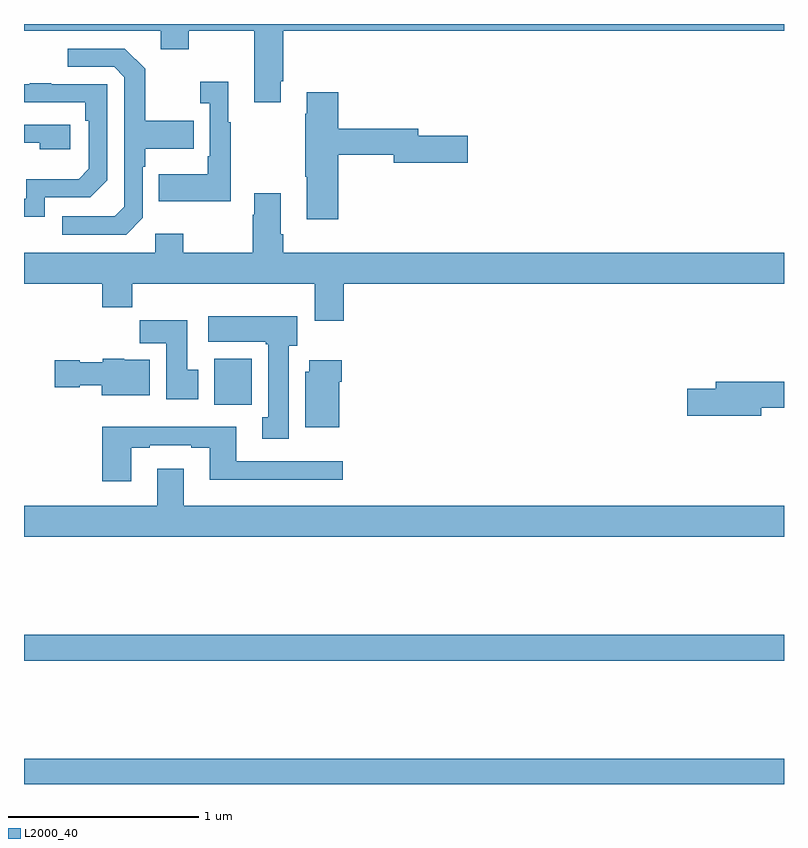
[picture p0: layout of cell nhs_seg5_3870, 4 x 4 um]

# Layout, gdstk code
import gdstk
lib = gdstk.Library(unit=1e-6, precision=1e-09)
def R(c, l, rs):  # rectangles x0, y0, x1, y1
    for r in rs: c.add(gdstk.rectangle(r[:2], r[2:], *l))
def P(c, l, *ps):  # polygons
    for p in ps: c.add(gdstk.Polygon(p, *l))
L2000_40 = (2000, 40)

nhs_seg5_3870 = lib.new_cell('nhs_seg5_3870')
R(nhs_seg5_3870, L2000_40, [(339,848.799,343,848.932), (339,849.448,343,849.584), (340.001,850.796,340.198,851.038)])
P(nhs_seg5_3870, L2000_40, [(339,852.764),(339.719,852.764),(339.719,852.665),(339.867,852.665),(339.867,852.764),(340.211,852.764),(340.211,852.387),(340.351,852.387),(340.351,852.499),(340.364,852.499),(340.364,852.764),(343,852.764),(343,852.799),(339,852.799)],
  [(339.624,851.778),(339.624,852.047),(339.637,852.047),(339.637,852.143),(339.893,852.143),(339.893,852.291),(339.637,852.291),(339.637,852.563),(339.531,852.669),(339.231,852.669),(339.231,852.573),(339.474,852.573),(339.528,852.519),(339.528,851.838),(339.477,851.787),(339.201,851.787),(339.201,851.691),(339.537,851.691)],
  [(340.087,852.283),(340.075,852.283),(340.075,852.496),(339.927,852.496),(339.927,852.383),(339.978,852.383),(339.978,852.103),(339.966,852.103),(339.966,852.007),(339.709,852.007),(339.709,851.867),(340.087,851.867)],
  [(339.108,851.886),(339.348,851.886),(339.438,851.976),(339.438,852.483),(339.143,852.483),(339.143,852.488),(339.031,852.488),(339.031,852.483),(339,852.483),(339,852.387),(339.322,852.387),(339.322,852.29),(339.342,852.29),(339.342,852.036),(339.289,851.983),(339.012,851.983),(339.012,851.88),(339,851.88),(339,851.784),(339.108,851.784)],
  [(340.655,852.112),(340.946,852.112),(340.946,852.07),(341.335,852.07),(341.335,852.212),(341.074,852.212),(341.074,852.248),(340.655,852.248),(340.655,852.439),(340.487,852.439),(340.487,852.326),(340.48,852.326),(340.48,851.995),(340.487,851.995),(340.487,851.772),(340.655,851.772)],
  [(339.244,852.27),(339,852.27),(339,852.174),(339.083,852.174),(339.083,852.14),(339.244,852.14)],
  [(340.682,851.432),(343,851.432),(343,851.596),(340.364,851.596),(340.364,851.692),(340.351,851.692),(340.351,851.908),(340.211,851.908),(340.211,851.795),(340.204,851.795),(340.204,851.596),(339.837,851.596),(339.837,851.695),(339.69,851.695),(339.69,851.596),(339,851.596),(339,851.432),(339.413,851.432),(339.413,851.308),(339.569,851.308),(339.569,851.432),(340.529,851.432),(340.529,851.238),(340.682,851.238)],
  [(340.393,851.106),(340.438,851.106),(340.438,851.26),(339.969,851.26),(339.969,851.126),(340.273,851.126),(340.273,851.113),(340.286,851.113),(340.286,850.73),(340.253,850.73),(340.253,850.617),(340.393,850.617)],
  [(339.916,850.98),(339.859,850.98),(339.859,851.239),(339.61,851.239),(339.61,851.12),(339.749,851.12),(339.749,850.824),(339.916,850.824)],
  [(339.661,851.032),(339.528,851.032),(339.528,851.038),(339.414,851.038),(339.414,851.02),(339.294,851.02),(339.294,851.028),(339.162,851.028),(339.162,850.886),(339.294,850.886),(339.294,850.898),(339.41,850.898),(339.41,850.844),(339.661,850.844)],
  [(340.66,850.916),(340.673,850.916),(340.673,851.029),(340.502,851.029),(340.502,850.968),(340.481,850.968),(340.481,850.676),(340.66,850.676)],
  [(342.88,850.78),(343,850.78),(343,850.916),(342.641,850.916),(342.641,850.88),(342.492,850.88),(342.492,850.738),(342.88,850.738)],
  [(339.565,850.569),(339.661,850.569),(339.661,850.581),(339.881,850.581),(339.881,850.569),(339.977,850.569),(339.977,850.4),(340.678,850.4),(340.678,850.497),(340.117,850.497),(340.117,850.678),(339.413,850.678),(339.413,850.392),(339.565,850.392)],
  [(343,850.264),(339.841,850.264),(339.841,850.459),(339.701,850.459),(339.701,850.264),(339,850.264),(339,850.1),(343,850.1)])

lib.write_gds('nhs_seg5_3870.gds')
